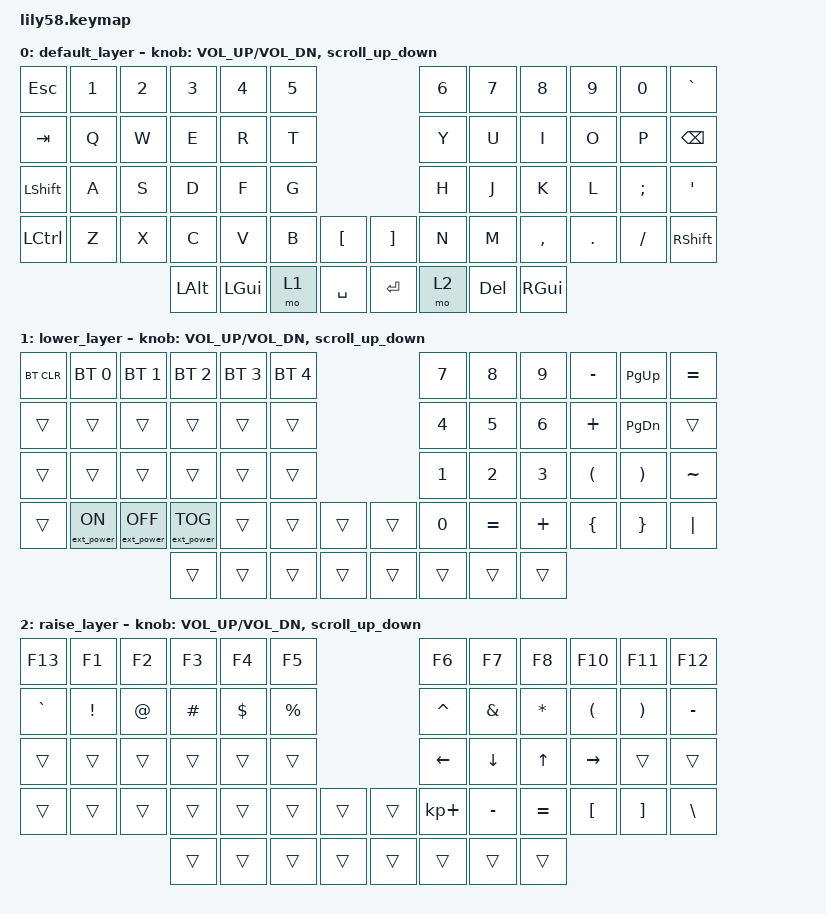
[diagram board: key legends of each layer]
/*
 * Copyright (c) 2020 The ZMK Contributors
 *
 * SPDX-License-Identifier: MIT
 */

#include <behaviors.dtsi>
#include <dt-bindings/zmk/bt.h>
#include <dt-bindings/zmk/ext_power.h>
#include <dt-bindings/zmk/keys.h>
#include <dt-bindings/zmk/pointing.h>

#define ZMK_POINTING_DEFAULT_SCRL_VAL 100


&left_encoder { resolution = <2>; };

&right_encoder { resolution = <2>; };

/ {
    behaviors {
        scroll_up_down: behavior_sensor_rotate_mouse_wheel_up_down {
            compatible = "zmk,behavior-sensor-rotate";
            #sensor-binding-cells = <0>;
            bindings = <&msc SCRL_UP>, <&msc SCRL_DOWN>;

            tap-ms = <20>;
        };
    };
};

/ {
    left_encoder: encoder_left {
        compatible = "alps,ec11";
        a-gpios = <&pro_micro 21 (GPIO_ACTIVE_HIGH | GPIO_PULL_UP)>;
        b-gpios = <&pro_micro 20 (GPIO_ACTIVE_HIGH | GPIO_PULL_UP)>;
        steps = <80>;
    };

    right_encoder: encoder_right {
        compatible = "alps,ec11";
        a-gpios = <&pro_micro 21 (GPIO_ACTIVE_HIGH | GPIO_PULL_UP)>;
        b-gpios = <&pro_micro 20 (GPIO_ACTIVE_HIGH | GPIO_PULL_UP)>;
        steps = <80>;
    };

    sensors: sensors {
        compatible = "zmk,keymap-sensors";
        sensors = <&left_encoder &right_encoder>;
        triggers-per-rotation = <25>;
    };

    keymap {
        compatible = "zmk,keymap";

        default_layer {
            // ------------------------------------------------------------------------------------------------------------
            // |  ESC  |  1  |  2  |  3   |  4   |  5   |                   |  6   |  7    |  8    |  9   |   0   |   `   |
            // |  TAB  |  Q  |  W  |  E   |  R   |  T   |                   |  Y   |  U    |  I    |  O   |   P   |   -   |
            // | SHIFT |  A  |  S  |  D   |  F   |  G   |                   |  H   |  J    |  K    |  L   |   ;   |   '   |
            // |  CTRL |  Z  |  X  |  C   |  V   |  B   |   "["  |  |  "]"  |  N   |  M    |  ,    |  .   |   /   | SHIFT |
            //                     | ALT  | GUI  | LOWER|  SPACE |  | ENTER | RAISE| BSPC  | GUI   |

            bindings = <
&kp ESC           &kp N1  &kp N2  &kp N3    &kp N4    &kp N5                         &kp N6  &kp N7      &kp N8     &kp N9   &kp N0    &kp GRAVE
&kp TAB           &kp Q   &kp W   &kp E     &kp R     &kp T                          &kp Y   &kp U       &kp I      &kp O    &kp P     &kp BACKSPACE
&kp LEFT_SHIFT    &kp A   &kp S   &kp D     &kp F     &kp G                          &kp H   &kp J       &kp K      &kp L    &kp SEMI  &kp SQT
&kp LEFT_CONTROL  &kp Z   &kp X   &kp C     &kp V     &kp B   &kp LBKT     &kp RBKT  &kp N   &kp M       &kp COMMA  &kp DOT  &kp FSLH  &kp RSHFT
                                  &kp LALT  &kp LGUI  &mo 1   &kp SPACE    &kp RET   &mo 2   &kp DELETE  &kp RGUI
            >;

            sensor-bindings = <&inc_dec_kp C_VOL_UP C_VOL_DN &scroll_up_down>;
        };

        lower_layer {
            // ------------------------------------------------------------------------------------------------------------
            // | BTCLR | BT1 | BT2 |  BT3 |  BT4 |  BT5 |                   |      |       |       |      |       |       |
            // |  F1   |  F2 |  F3 |  F4  |  F5  |  F6  |                   |  F7  |  F8   |  F9   |  F10 |  F11  |  F12  |
            // |   `   |  !  |  @  |  #   |  $   |  %   |                   |  ^   |  &    |  *    |  (   |   )   |   ~   |
            // |       |     |     |      |      |      |        |  |       |      |  _    |  +    |  {   |   }   |  "|"  |
            //                     |      |      |      |        |  |       |      |       |       |

            bindings = <
&bt BT_CLR  &bt BT_SEL 0      &bt BT_SEL 1       &bt BT_SEL 2       &bt BT_SEL 3  &bt BT_SEL 4                    &kp N7        &kp NUMBER_8  &kp NUMBER_9  &kp MINUS       &kp PAGE_UP      &kp EQUAL
&trans      &trans            &trans             &trans             &trans        &trans                          &kp NUMBER_4  &kp NUMBER_5  &kp NUMBER_6  &kp PLUS        &kp PAGE_DOWN    &trans
&trans      &trans            &trans             &trans             &trans        &trans                          &kp NUMBER_1  &kp NUMBER_2  &kp NUMBER_3  &kp LPAR        &kp RPAR         &kp TILDE
&trans      &ext_power EP_ON  &ext_power EP_OFF  &ext_power EP_TOG  &trans        &trans        &trans    &trans  &kp N0        &kp EQUAL     &kp PLUS      &kp LEFT_BRACE  &kp RIGHT_BRACE  &kp PIPE
                                                 &trans             &trans        &trans        &trans    &trans  &trans        &trans        &trans
            >;

            sensor-bindings = <&inc_dec_kp C_VOL_UP C_VOL_DN &scroll_up_down>;
        };

        raise_layer {
            // ------------------------------------------------------------------------------------------------------------
            // |       |     |     |      |      |      |                   |      |       |       |      |       |       |
            // |   `   |  1  |  2  |  3   |  4   |  5   |                   |  6   |   7   |   8   |  9   |   0   |       |
            // |   F1  |  F2 |  F3 |  F4  |  F5  |  F6  |                   |      |   <-  |   v   |  ^   |  ->   |       |
            // |   F7  |  F8 |  F9 |  F10 |  F11 |  F12 |        |  |       |  +   |   -   |   =   |  [   |   ]   |   \   |
            //                     |      |      |      |        |  |       |      |       |       |

            bindings = <
&kp F13    &kp F1           &kp F2       &kp F3    &kp F4      &kp F5                         &kp F6          &kp F7          &kp F8        &kp F10               &kp F11                &kp F12
&kp GRAVE  &kp EXCLAMATION  &kp AT_SIGN  &kp HASH  &kp DOLLAR  &kp PERCENT                    &kp CARET       &kp AMPERSAND   &kp ASTERISK  &kp LEFT_PARENTHESIS  &kp RIGHT_PARENTHESIS  &kp MINUS
&trans     &trans           &trans       &trans    &trans      &trans                         &kp LEFT_ARROW  &kp DOWN_ARROW  &kp UP_ARROW  &kp RIGHT             &trans                 &trans
&trans     &trans           &trans       &trans    &trans      &trans       &trans    &trans  &kp KP_PLUS     &kp MINUS       &kp EQUAL     &kp LEFT_BRACKET      &kp RIGHT_BRACKET      &kp BSLH
                                         &trans    &trans      &trans       &trans    &trans  &trans          &trans          &trans
            >;

            sensor-bindings = <&inc_dec_kp C_VOL_UP C_VOL_DN &scroll_up_down>;
        };
    };
};
